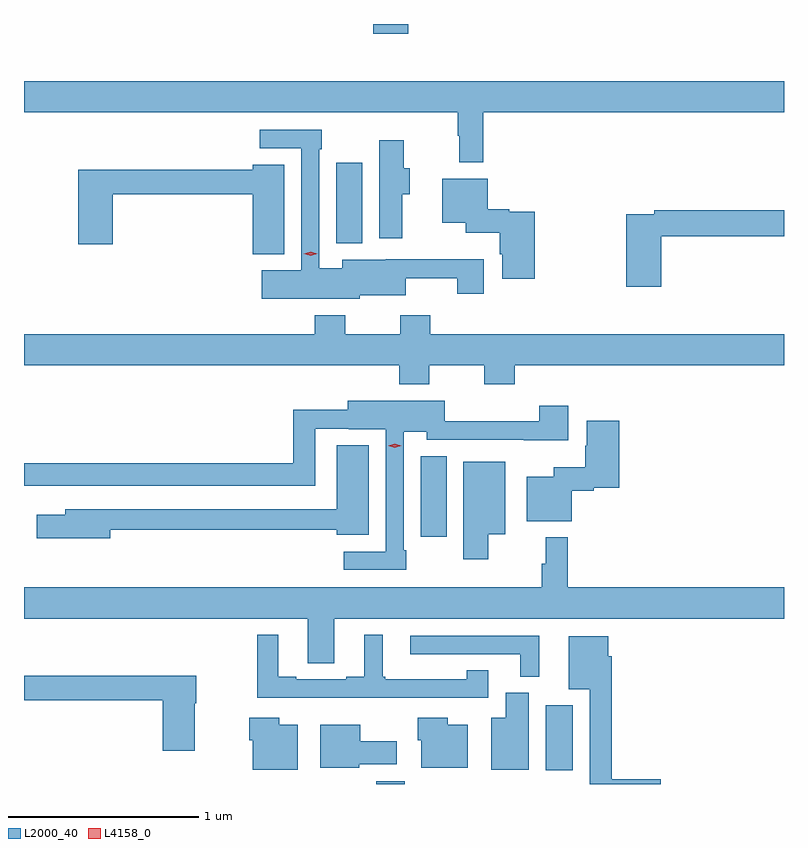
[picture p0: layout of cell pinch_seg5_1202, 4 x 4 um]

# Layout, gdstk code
import gdstk
lib = gdstk.Library(unit=1e-6, precision=1e-09)
def R(c, l, rs):  # rectangles x0, y0, x1, y1
    for r in rs: c.add(gdstk.rectangle(r[:2], r[2:], *l))
def P(c, l, *ps):  # polygons
    for p in ps: c.add(gdstk.Polygon(p, *l))
L2000_40 = (2000, 40)
L4158_0 = (4158, 0)

pinch_seg5_1202 = lib.new_cell('pinch_seg5_1202')
R(pinch_seg5_1202, L2000_40, [(461.496,875.869,461.646,875.884), (462.386,875.941,462.529,876.283), (461.729,877.17,461.866,877.595), (461.285,878.714,461.422,879.139), (461.48,879.819,461.663,879.869)])
P(pinch_seg5_1202, L2000_40, [(462.059,879.404),(463.641,879.404),(463.641,879.568),(459.641,879.568),(459.641,879.404),(461.923,879.404),(461.923,879.281),(461.931,879.281),(461.931,879.141),(462.059,879.141)],
  [(461.409,878.441),(461.65,878.441),(461.65,878.531),(461.921,878.531),(461.921,878.448),(462.061,878.448),(462.061,878.63),(461.546,878.63),(461.546,878.629),(461.315,878.629),(461.315,878.584),(461.196,878.584),(461.196,879.209),(461.209,879.209),(461.209,879.312),(460.881,879.312),(460.881,879.216),(461.1,879.216),(461.1,878.572),(460.893,878.572),(460.893,878.423),(461.409,878.423)],
  [(461.632,878.974),(461.671,878.974),(461.671,879.111),(461.64,879.111),(461.64,879.256),(461.51,879.256),(461.51,878.742),(461.632,878.742)],
  [(461.011,879.127),(460.844,879.127),(460.844,879.103),(459.926,879.103),(459.926,878.709),(460.109,878.709),(460.109,878.974),(460.844,878.974),(460.844,878.657),(461.011,878.657)],
  [(462.329,878.881),(462.195,878.881),(462.195,878.894),(462.082,878.894),(462.082,879.055),(461.843,879.055),(461.843,878.822),(461.966,878.822),(461.966,878.771),(462.146,878.771),(462.146,878.658),(462.158,878.658),(462.158,878.529),(462.329,878.529)],
  [(462.995,878.752),(463.641,878.752),(463.641,878.888),(462.958,878.888),(462.958,878.868),(462.812,878.868),(462.812,878.487),(462.995,878.487)],
  [(461.775,878.072),(462.064,878.072),(462.064,877.973),(462.224,877.973),(462.224,878.072),(463.641,878.072),(463.641,878.236),(461.78,878.236),(461.78,878.335),(461.62,878.335),(461.62,878.236),(461.331,878.236),(461.331,878.335),(461.171,878.335),(461.171,878.236),(459.641,878.236),(459.641,878.072),(461.615,878.072),(461.615,877.973),(461.775,877.973)],
  [(461.653,877.099),(461.64,877.099),(461.64,877.724),(461.76,877.724),(461.76,877.68),(462.271,877.68),(462.271,877.679),(462.505,877.679),(462.505,877.861),(462.353,877.861),(462.353,877.778),(461.856,877.778),(461.856,877.885),(461.345,877.885),(461.345,877.839),(461.059,877.839),(461.059,877.556),(459.641,877.556),(459.641,877.439),(459.72,877.439),(459.72,877.44),(461.175,877.44),(461.175,877.74),(461.349,877.74),(461.349,877.736),(461.544,877.736),(461.544,877.092),(461.325,877.092),(461.325,876.996),(461.653,876.996)],
  [(462.525,877.413),(462.639,877.413),(462.639,877.427),(462.773,877.427),(462.773,877.78),(462.602,877.78),(462.602,877.65),(462.595,877.65),(462.595,877.537),(462.429,877.537),(462.429,877.486),(462.287,877.486),(462.287,877.253),(462.525,877.253)],
  [(460.096,877.206),(461.288,877.206),(461.288,877.181),(461.455,877.181),(461.455,877.651),(461.288,877.651),(461.288,877.314),(459.857,877.314),(459.857,877.285),(459.708,877.285),(459.708,877.163),(460.096,877.163)],
  [(462.084,877.184),(462.175,877.184),(462.175,877.564),(461.954,877.564),(461.954,877.053),(462.084,877.053)],
  [(461.275,876.74),(463.641,876.74),(463.641,876.904),(462.503,876.904),(462.503,877.168),(462.386,877.168),(462.386,877.028),(462.367,877.028),(462.367,876.904),(459.641,876.904),(459.641,876.74),(461.135,876.74),(461.135,876.505),(461.275,876.505)],
  [(461.436,876.324),(462.085,876.324),(462.085,876.467),(461.972,876.467),(461.972,876.421),(461.542,876.421),(461.542,876.433),(461.53,876.433),(461.53,876.655),(461.432,876.655),(461.432,876.433),(461.336,876.433),(461.336,876.42),(461.074,876.42),(461.074,876.433),(460.978,876.433),(460.978,876.655),(460.869,876.655),(460.869,876.323),(461.436,876.323)],
  [(462.352,876.648),(461.673,876.648),(461.673,876.552),(462.254,876.552),(462.254,876.433),(462.352,876.433)],
  [(462.991,875.894),(462.734,875.894),(462.734,876.542),(462.715,876.542),(462.715,876.646),(462.509,876.646),(462.509,876.368),(462.618,876.368),(462.618,875.869),(462.991,875.869)],
  [(460.54,876.293),(460.548,876.293),(460.548,876.439),(459.641,876.439),(459.641,876.31),(460.37,876.31),(460.37,876.045),(460.54,876.045)],
  [(462.298,876.348),(462.176,876.348),(462.176,876.217),(462.101,876.217),(462.101,875.945),(462.298,875.945)],
  [(461.083,876.181),(460.984,876.181),(460.984,876.217),(460.826,876.217),(460.826,876.099),(460.844,876.099),(460.844,875.945),(461.083,875.945)],
  [(461.977,876.181),(461.872,876.181),(461.872,876.217),(461.714,876.217),(461.714,876.099),(461.732,876.099),(461.732,875.954),(461.977,875.954)],
  [(461.406,875.972),(461.602,875.972),(461.602,876.094),(461.41,876.094),(461.41,876.181),(461.201,876.181),(461.201,875.954),(461.406,875.954)])
P(pinch_seg5_1202, L4158_0, [(461.592,877.639),(461.558,877.649),(461.557,877.649),(461.558,877.649),(461.592,877.659),(461.627,877.649),(461.627,877.649),(461.627,877.649)],
  [(461.149,878.65),(461.114,878.659),(461.114,878.659),(461.114,878.659),(461.149,878.67),(461.184,878.661),(461.184,878.661),(461.184,878.661)])

lib.write_gds('pinch_seg5_1202.gds')
